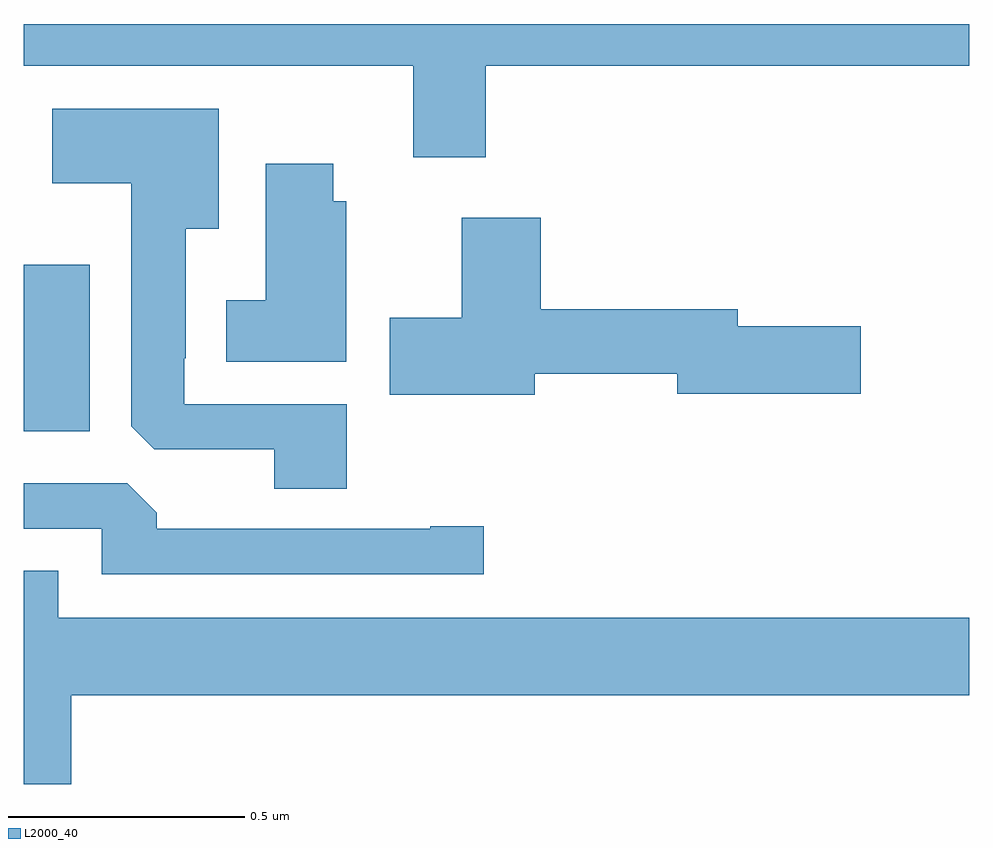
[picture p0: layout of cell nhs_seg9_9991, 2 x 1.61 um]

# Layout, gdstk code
import gdstk
lib = gdstk.Library(unit=1e-6, precision=1e-09)
def R(c, l, rs):  # rectangles x0, y0, x1, y1
    for r in rs: c.add(gdstk.rectangle(r[:2], r[2:], *l))
def P(c, l, *ps):  # polygons
    for p in ps: c.add(gdstk.Polygon(p, *l))
L2000_40 = (2000, 40)

nhs_seg9_9991 = lib.new_cell('nhs_seg9_9991')
R(nhs_seg9_9991, L2000_40, [(237,1203.638,237.139,1203.991)])
P(nhs_seg9_9991, L2000_40, [(237.977,1204.412),(239,1204.412),(239,1204.5),(237,1204.5),(237,1204.412),(237.824,1204.412),(237.824,1204.218),(237.977,1204.218)],
  [(237.683,1203.696),(237.339,1203.696),(237.339,1203.793),(237.343,1203.793),(237.343,1204.067),(237.412,1204.067),(237.412,1204.321),(237.06,1204.321),(237.06,1204.163),(237.227,1204.163),(237.227,1203.649),(237.276,1203.6),(237.53,1203.6),(237.53,1203.517),(237.683,1203.517)],
  [(237.682,1204.125),(237.655,1204.125),(237.655,1204.204),(237.512,1204.204),(237.512,1203.916),(237.428,1203.916),(237.428,1203.785),(237.682,1203.785)],
  [(238.081,1203.76),(238.382,1203.76),(238.382,1203.718),(238.771,1203.718),(238.771,1203.86),(238.51,1203.86),(238.51,1203.896),(238.094,1203.896),(238.094,1204.09),(237.926,1204.09),(237.926,1203.879),(237.774,1203.879),(237.774,1203.716),(238.081,1203.716)],
  [(237.973,1203.437),(237.86,1203.437),(237.86,1203.432),(237.281,1203.432),(237.281,1203.466),(237.219,1203.528),(237,1203.528),(237,1203.432),(237.165,1203.432),(237.165,1203.336),(237.973,1203.336)],
  [(237.1,1203.08),(239,1203.08),(239,1203.244),(237.073,1203.244),(237.073,1203.343),(237,1203.343),(237,1202.892),(237.1,1202.892)])

lib.write_gds('nhs_seg9_9991.gds')
